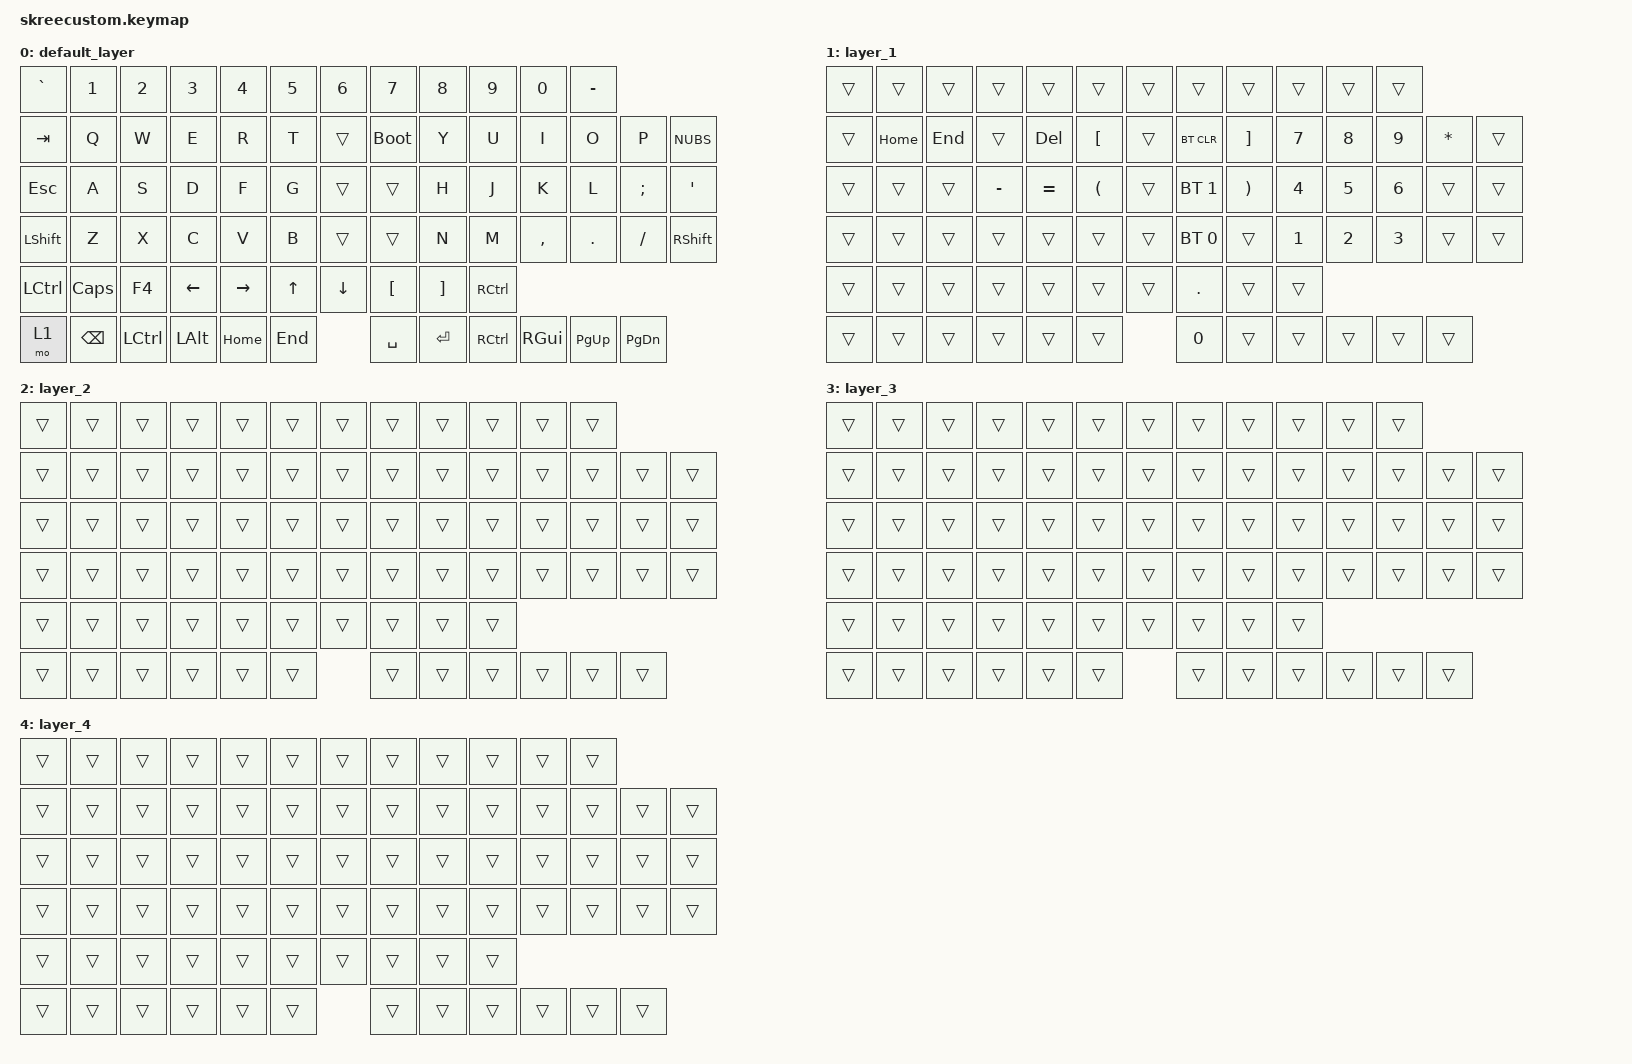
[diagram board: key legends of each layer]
/*
 * Copyright (c) 2020 The ZMK Contributors
 *
 * SPDX-License-Identifier: MIT
 */
//#include <behaviors/mouse_keys.dtsi>

#include <input/processors.dtsi>
#include <dt-bindings/zmk/input_transform.h>
#include <behaviors.dtsi>
#include <dt-bindings/zmk/bt.h>
#include <dt-bindings/zmk/keys.h>

/ {
    keymap {
        compatible = "zmk,keymap";

        default_layer {
            bindings = <
&kp GRAVE  &kp N1         &kp N2     &kp N3    &kp N4     &kp N5   &kp N6    &kp N7       &kp N8     &kp N9     &kp N0     &kp MINUS
&kp TAB    &kp Q          &kp W      &kp E     &kp R      &kp T    &trans    &bootloader  &kp Y      &kp U      &kp I      &kp O      &kp P          &kp NUBS
&kp ESC    &kp A          &kp S      &kp D     &kp F      &kp G    &trans    &trans       &kp H      &kp J      &kp K      &kp L      &kp SEMI       &kp SQT
&kp LSHFT  &kp Z          &kp X      &kp C     &kp V      &kp B    &trans    &trans       &kp N      &kp M      &kp COMMA  &kp DOT    &kp FSLH       &kp RSHFT
&kp LCTRL  &kp CAPSLOCK   &kp F4     &kp LEFT  &kp RIGHT  &kp UP   &kp DOWN  &kp LBKT     &kp RBKT   &kp RCTRL
&mo 1      &kp BACKSPACE  &kp LCTRL  &kp LALT  &kp HOME   &kp END            &kp SPACE    &kp ENTER  &kp RCTRL  &kp RGUI   &kp PG_UP  &kp PAGE_DOWN
            >;
        };

        layer_1 {
            bindings = <
&trans  &trans    &trans   &trans     &trans     &trans    &trans  &trans        &trans    &trans  &trans  &trans
&trans  &kp HOME  &kp END  &trans     &kp DEL    &kp LBKT  &trans  &bt BT_CLR    &kp RBKT  &kp N7  &kp N8  &kp N9  &kp ASTRK  &trans
&trans  &trans    &trans   &kp MINUS  &kp EQUAL  &kp LPAR  &trans  &bt BT_SEL 1  &kp RPAR  &kp N4  &kp N5  &kp N6  &trans     &trans
&trans  &trans    &trans   &trans     &trans     &trans    &trans  &bt BT_SEL 0  &trans    &kp N1  &kp N2  &kp N3  &trans     &trans
&trans  &trans    &trans   &trans     &trans     &trans    &trans  &kp PERIOD    &trans    &trans
&trans  &trans    &trans   &trans     &trans     &trans            &kp N0        &trans    &trans  &trans  &trans  &trans
            >;
        };

        layer_2 {
            bindings = <
&trans  &trans  &trans  &trans  &trans  &trans  &trans  &trans  &trans  &trans  &trans  &trans
&trans  &trans  &trans  &trans  &trans  &trans  &trans  &trans  &trans  &trans  &trans  &trans  &trans  &trans
&trans  &trans  &trans  &trans  &trans  &trans  &trans  &trans  &trans  &trans  &trans  &trans  &trans  &trans
&trans  &trans  &trans  &trans  &trans  &trans  &trans  &trans  &trans  &trans  &trans  &trans  &trans  &trans
&trans  &trans  &trans  &trans  &trans  &trans  &trans  &trans  &trans  &trans
&trans  &trans  &trans  &trans  &trans  &trans          &trans  &trans  &trans  &trans  &trans  &trans
            >;
        };

        layer_3 {
            bindings = <
&trans  &trans  &trans  &trans  &trans  &trans  &trans  &trans  &trans  &trans  &trans  &trans
&trans  &trans  &trans  &trans  &trans  &trans  &trans  &trans  &trans  &trans  &trans  &trans  &trans  &trans
&trans  &trans  &trans  &trans  &trans  &trans  &trans  &trans  &trans  &trans  &trans  &trans  &trans  &trans
&trans  &trans  &trans  &trans  &trans  &trans  &trans  &trans  &trans  &trans  &trans  &trans  &trans  &trans
&trans  &trans  &trans  &trans  &trans  &trans  &trans  &trans  &trans  &trans
&trans  &trans  &trans  &trans  &trans  &trans          &trans  &trans  &trans  &trans  &trans  &trans
            >;
        };

        layer_4 {
            bindings = <
&trans  &trans  &trans  &trans  &trans  &trans  &trans  &trans  &trans  &trans  &trans  &trans
&trans  &trans  &trans  &trans  &trans  &trans  &trans  &trans  &trans  &trans  &trans  &trans  &trans  &trans
&trans  &trans  &trans  &trans  &trans  &trans  &trans  &trans  &trans  &trans  &trans  &trans  &trans  &trans
&trans  &trans  &trans  &trans  &trans  &trans  &trans  &trans  &trans  &trans  &trans  &trans  &trans  &trans
&trans  &trans  &trans  &trans  &trans  &trans  &trans  &trans  &trans  &trans
&trans  &trans  &trans  &trans  &trans  &trans          &trans  &trans  &trans  &trans  &trans  &trans
            >;
        };
    };
};

// //right hand trackball overrides
// &trackball_peripheral_listener {
//     input-processors =
//         <&zip_xy_transform INPUT_TRANSFORM_XY_SWAP>,//this gets it to the default installation orientation
//         <&zip_temp_layer 3 500>;//activate layer 3 within 500ms of the trackball moving
// };
// //left hand trackball overrides
// &trackball_central_listener {
//     input-processors = 
//         <&zip_xy_transform INPUT_TRANSFORM_XY_SWAP>,//this gets it to the default installation orientation
//         <&zip_xy_scaler 1 3>,//multiply sensitivity by 1, divide by 3 (make it slower for scrolling)
//         <&zip_xy_to_scroll_mapper>,//make this trackball output scrolling events by default instead of cursor movement
//         <&zip_scroll_transform INPUT_TRANSFORM_Y_INVERT>;//invert vertical scrolling so that the view moves in the same direction as the top of the trackball.
// };
